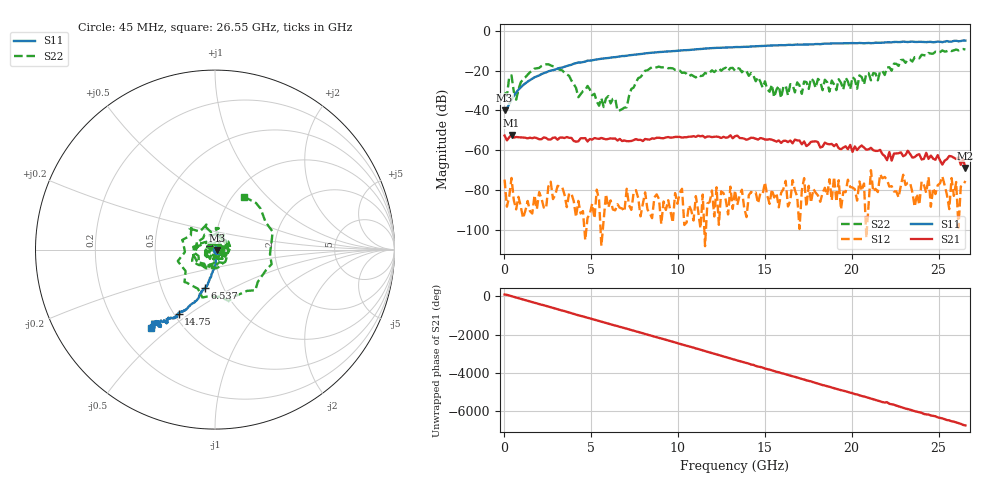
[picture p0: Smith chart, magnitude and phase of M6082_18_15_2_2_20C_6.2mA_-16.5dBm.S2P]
!  2-Port S-parameters saved by WinCal
! VAR MeasName=S-Parameters (CALIBRATED_DATA) read from VNA (C)
! VAR MeasDate=9/29/2015 2:58:34 PM
! VAR NAME=M6082_18_15_2_2_20C_6.2mA_-16.5dBm
! VAR FILENAME=M6082_18_15_2_2_20C_6.2mA_-16.5dBm.S2P
! VAR DATE=9/29/2015 2:58:34 PM
! VAR PHYS_PORTS=2,1
! VAR ObjTypeName=DATASET
! VAR IndexType=Frequency
# Hz S RI R 50
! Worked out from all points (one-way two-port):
!   201 points, 45 MHz to 26.55 GHz, reference 50 ohm
!   highest |S21| = -52.32 dB at 442.5 MHz (marker M1); lowest = -68.7 dB at 26.55 GHz (marker M2)
!   lowest |S11| = -39.9 dB at 45 MHz (marker M3), VSWR 1.02, Z = 51 - j0.156 ohm
!   |S11| at or under -10 dB: start of sweep to 10.09 GHz
!   |S22| runs from -40.2 to -9.2 dB; largest |S21 - S12| = 0.0025
!   S11 on the Smith chart (normalised r, x): 45 MHz: 1.02, -0.00; 6.537 GHz: 0.82, -0.37; 14.75 GHz: 0.53, -0.45; 26.55 GHz: 0.34, -0.43
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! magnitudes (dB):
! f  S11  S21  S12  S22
! 45 MHz  -39.9  -52.6  -74.6  -31.0
! 442.5 MHz  -34.6  -52.3  -73.8  -22.4
! 707.5 MHz  -31.1  -53.3  -89.5  -34.6
! 1.105 GHz  -27.3  -53.5  -94.0  -24.4
! 2.43 GHz  -20.9  -53.8  -89.2  -16.9
! 4.55 GHz  -15.8  -53.9  -90.4  -30.3
! 6.537 GHz  -13.1  -55.0  -87.0  -40.2
! 8.922 GHz  -10.7  -53.6  -84.3  -18.0
! 13.29 GHz  -8.2  -52.9  -80.0  -20.1
! 14.75 GHz  -7.7  -53.8  -81.6  -25.5
! 15.95 GHz  -7.3  -56.2  -81.3  -33.8
! 17.8 GHz  -6.9  -55.6  -79.3  -25.1
! 18.86 GHz  -6.4  -56.8  -85.0  -25.0
! 18.99 GHz  -6.4  -57.9  -73.3  -27.0
! 19.12 GHz  -6.4  -56.9  -85.7  -29.8
! 20.32 GHz  -6.3  -59.8  -85.1  -29.1
! 20.98 GHz  -6.2  -59.5  -86.6  -21.3
! 21.11 GHz  -6.3  -58.7  -69.9  -24.9
! 21.25 GHz  -6.2  -59.9  -80.7  -21.2
! 21.64 GHz  -6.1  -59.7  -72.0  -20.3
! 22.17 GHz  -5.8  -60.8  -78.1  -18.4
! 26.55 GHz  -5.0  -68.7  -75.3  -9.5
